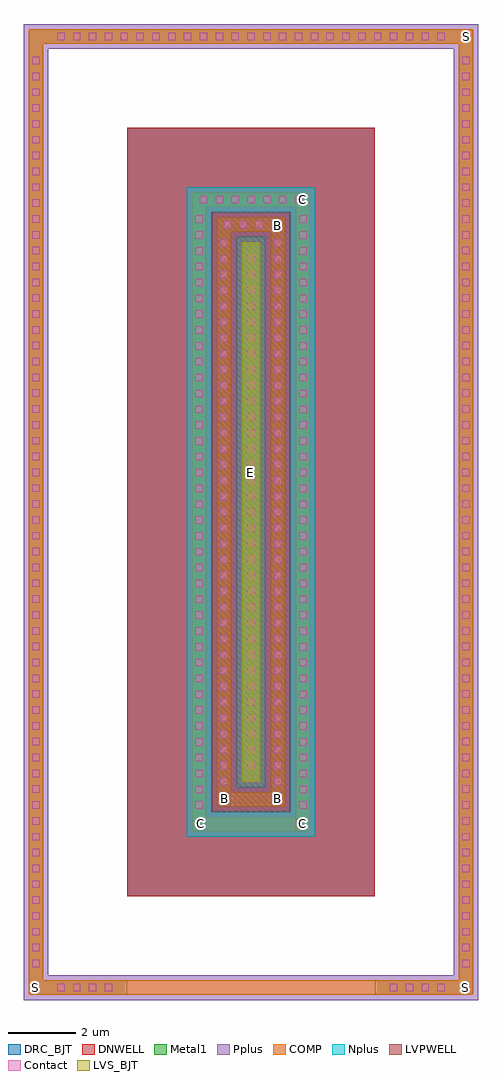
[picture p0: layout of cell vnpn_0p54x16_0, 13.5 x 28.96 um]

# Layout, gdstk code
import gdstk
lib = gdstk.Library(unit=1e-6, precision=1e-09)
def R(c, l, rs):  # rectangles x0, y0, x1, y1
    for r in rs: c.add(gdstk.rectangle(r[:2], r[2:], *l))
def A(c, l, x, y, w, h, nx, ny, dx, dy):  # array of equal rectangles
    R(c, l, [(x+i*dx, y+j*dy, x+i*dx+w, y+j*dy+h) for i in range(nx) for j in range(ny)])
def P(c, l, *ps):  # polygons
    for p in ps: c.add(gdstk.Polygon(p, *l))
DNWELL = (12, 0)
COMP = (22, 0)
Pplus = (31, 0)
Nplus = (32, 0)
Contact = (33, 0)
Metal1 = (34, 0)
LVS_BJT = (118, 5)
DRC_BJT = (127, 5)
LVPWELL = (204, 0)

vnpn_0p54x16_0 = lib.new_cell('vnpn_0p54x16_0')
R(vnpn_0p54x16_0, DNWELL, [(-3.4,-3.4,3.94,19.4)])
R(vnpn_0p54x16_0, COMP, [(0,0,0.54,16)])
P(vnpn_0p54x16_0, COMP, [(-0.74,-0.74),(1.28,-0.74),(1.28,16.74),(0.86,16.74),(0.86,-0.32),(-0.32,-0.32),(-0.32,16.32),(0.86,16.32),(0.86,16.74),(-0.74,16.74)],
  [(-1.48,-1.48),(2.02,-1.48),(2.02,17.48),(1.6,17.48),(1.6,-1.06),(-1.06,-1.06),(-1.06,17.06),(1.6,17.06),(1.6,17.48),(-1.48,17.48)],
  [(-6.32,-6.32),(6.86,-6.32),(6.86,22.32),(6.44,22.32),(6.44,-5.9),(-5.9,-5.9),(-5.9,21.9),(6.44,21.9),(6.44,22.32),(-6.32,22.32)])
P(vnpn_0p54x16_0, Pplus, [(-0.9,-0.9),(1.44,-0.9),(1.44,16.9),(0.7,16.9),(0.7,-0.16),(-0.16,-0.16),(-0.16,16.16),(0.7,16.16),(0.7,16.9),(-0.9,16.9)],
  [(-6.48,-6.48),(7.02,-6.48),(7.02,22.48),(6.28,22.48),(6.28,-5.74),(-5.74,-5.74),(-5.74,21.74),(6.28,21.74),(6.28,22.48),(-6.48,22.48)])
R(vnpn_0p54x16_0, Nplus, [(-0.16,-0.16,0.7,16.16)])
P(vnpn_0p54x16_0, Nplus, [(-1.64,-1.64),(2.18,-1.64),(2.18,17.64),(1.44,17.64),(1.44,-0.9),(-0.9,-0.9),(-0.9,16.9),(1.44,16.9),(1.44,17.64),(-1.64,17.64)])
A(vnpn_0p54x16_0, Contact, -5.48, -6.22, 0.22, 0.22, 4, 1, 0.47, 0)
A(vnpn_0p54x16_0, Contact, 4.39, -6.22, 0.22, 0.22, 4, 1, 0.47, 0)
A(vnpn_0p54x16_0, Contact, -6.22, -5.505, 0.22, 0.22, 1, 58, 0, 0.47)
A(vnpn_0p54x16_0, Contact, 6.54, -5.505, 0.22, 0.22, 1, 58, 0, 0.47)
A(vnpn_0p54x16_0, Contact, -1.38, -0.81, 0.22, 0.22, 1, 38, 0, 0.47)
A(vnpn_0p54x16_0, Contact, 1.7, -0.81, 0.22, 0.22, 1, 38, 0, 0.47)
A(vnpn_0p54x16_0, Contact, -0.64, -0.105, 0.22, 0.22, 1, 35, 0, 0.47)
A(vnpn_0p54x16_0, Contact, 0.96, -0.105, 0.22, 0.22, 1, 35, 0, 0.47)
A(vnpn_0p54x16_0, Contact, 0.16, 0.37, 0.22, 0.22, 1, 33, 0, 0.47)
A(vnpn_0p54x16_0, Contact, -0.54, 16.42, 0.22, 0.22, 4, 1, 0.47, 0)
A(vnpn_0p54x16_0, Contact, -1.25, 17.16, 0.22, 0.22, 7, 1, 0.47, 0)
A(vnpn_0p54x16_0, Contact, -5.48, 22, 0.22, 0.22, 25, 1, 0.47, 0)
R(vnpn_0p54x16_0, Metal1, [(-6.32,-6.32,-3.4,-5.9), (-6.32,-6.32,-5.9,22.32), (3.94,-6.32,6.86,-5.9), (6.44,-6.32,6.86,22.32), (-1.48,-1.48,-1.06,17.48), (-1.48,-1.48,-1.06,17.06), (1.6,-1.48,2.02,17.48), (1.6,-1.48,2.02,17.06), (-0.74,-0.74,-0.32,16.74), (-0.74,-0.74,-0.32,16.32), (0.86,-0.74,1.28,16.74), (0.86,-0.74,1.28,16.32), (0,0,0.54,16), (0,0,0.54,16), (-0.74,16.32,1.28,16.74), (-0.74,16.32,1.28,16.74), (-1.48,17.06,2.02,17.48), (-1.48,17.06,2.02,17.48), (-6.32,21.9,6.86,22.32)])
P(vnpn_0p54x16_0, Metal1, [(3.94,-6.32),(6.86,-6.32),(6.86,22.32),(6.44,22.32),(6.44,-5.9),(3.94,-5.9)],
  [(-6.32,-6.32),(-3.4,-6.32),(-3.4,-5.9),(-5.9,-5.9),(-5.9,21.9),(6.44,21.9),(6.44,22.32),(-6.32,22.32)])
R(vnpn_0p54x16_0, LVS_BJT, [(0,0,0.54,16)])
R(vnpn_0p54x16_0, DRC_BJT, [(-3.4,-3.4,3.94,19.4)])
R(vnpn_0p54x16_0, LVPWELL, [(-0.9,-0.9,1.44,16.9)])
vnpn_0p54x16_0.add(gdstk.Label('E', (0.25,9.16), layer=34, texttype=0))
vnpn_0p54x16_0.add(gdstk.Label('B', (1.07,-0.51), layer=34, texttype=0))
vnpn_0p54x16_0.add(gdstk.Label('B', (1.07,16.505), layer=34, texttype=0))
vnpn_0p54x16_0.add(gdstk.Label('B', (-0.52,-0.495), layer=34, texttype=0))
vnpn_0p54x16_0.add(gdstk.Label('C', (1.805,-1.24), layer=34, texttype=0))
vnpn_0p54x16_0.add(gdstk.Label('C', (1.81,17.265), layer=34, texttype=0))
vnpn_0p54x16_0.add(gdstk.Label('C', (-1.24,-1.24), layer=34, texttype=0))
vnpn_0p54x16_0.add(gdstk.Label('S', (-6.115,-6.105), layer=34, texttype=0))
vnpn_0p54x16_0.add(gdstk.Label('S', (-6.115,-6.105), layer=34, texttype=0))
vnpn_0p54x16_0.add(gdstk.Label('S', (6.64,-6.105), layer=34, texttype=0))
vnpn_0p54x16_0.add(gdstk.Label('S', (6.64,-6.105), layer=34, texttype=0))
vnpn_0p54x16_0.add(gdstk.Label('S', (6.65,22.11), layer=34, texttype=0))

lib.write_gds('vnpn_0p54x16_0.gds')
